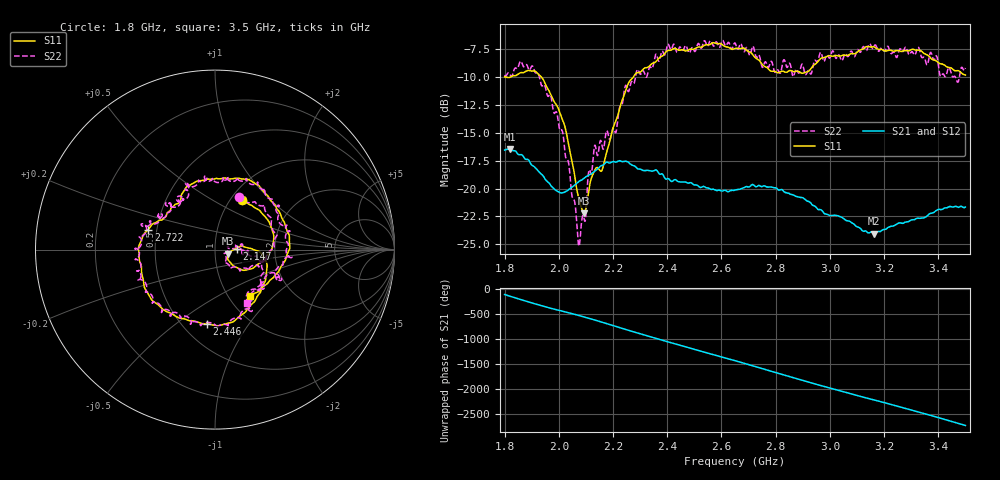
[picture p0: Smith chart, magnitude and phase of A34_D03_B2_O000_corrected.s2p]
! Created with skrf 1.9.0 (http://scikit-rf.org).
# Hz S RI R 50.0
!freq ReS11 ImS11 ReS21 ImS21 ReS12 ImS12 ReS22 ImS22
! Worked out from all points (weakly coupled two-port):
!   1601 points, 1.8 GHz to 3.5 GHz, reference 50 ohm
!   highest |S21| = -16.45 dB at 1.818 GHz (marker M1); lowest = -24.0 dB at 3.163 GHz (marker M2)
!   lowest |S11| = -22.2 dB at 2.093 GHz (marker M3), VSWR 1.17, Z = 57.9 - j2.67 ohm
!   |S11| at or under -10 dB: 1.804 GHz to 1.822 GHz (18.36 MHz wide, 1.01 % of centre); 1.936 GHz to 2.275 GHz (339.2 MHz wide, 16.1 % of centre)
!   |S22| runs from -25.2 to -6.7 dB; largest |S21 - S12| = 0.0026
!   S11 on the Smith chart (normalised r, x): 1.8 GHz: 1.13, +0.70; 2.147 GHz: 1.28, +0.01; 2.446 GHz: 0.65, -0.66; 2.722 GHz: 0.45, +0.12; 3.5 GHz: 1.26, -0.72
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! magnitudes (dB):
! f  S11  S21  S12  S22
! 1.8 GHz  -10.0  -16.6  -16.6  -9.8
! 1.818 GHz  -10.0  -16.4  -16.5  -9.7
! 1.903 GHz  -9.5  -17.9  -17.9  -9.0
! 1.968 GHz  -11.4  -19.6  -19.7  -11.6
! 2.015 GHz  -13.9  -20.4  -20.4  -15.0
! 2.072 GHz  -20.7  -19.4  -19.4  -24.9
! 2.084 GHz  -21.7  -19.2  -19.2  -23.0
! 2.093 GHz  -22.2  -19.1  -19.1  -22.7
! 2.112 GHz  -19.9  -18.8  -18.8  -18.3
! 2.147 GHz  -18.3  -18.1  -18.1  -16.5
! 2.209 GHz  -14.0  -17.6  -17.6  -15.0
! 2.259 GHz  -10.5  -17.7  -17.7  -11.2
! 2.367 GHz  -8.4  -18.6  -18.5  -8.5
! 2.446 GHz  -7.6  -19.4  -19.4  -7.3
! 2.65 GHz  -7.4  -20.1  -20.1  -7.0
! 2.722 GHz  -8.2  -19.8  -19.7  -7.7
! 2.934 GHz  -9.1  -21.4  -21.4  -9.5
! 3.163 GHz  -7.3  -24.0  -24.0  -7.2
! 3.217 GHz  -7.6  -23.5  -23.4  -7.4
! 3.327 GHz  -7.6  -22.7  -22.6  -7.3
! 3.468 GHz  -9.4  -21.6  -21.6  -10.3
! 3.5 GHz  -9.8  -21.7  -21.6  -9.2
